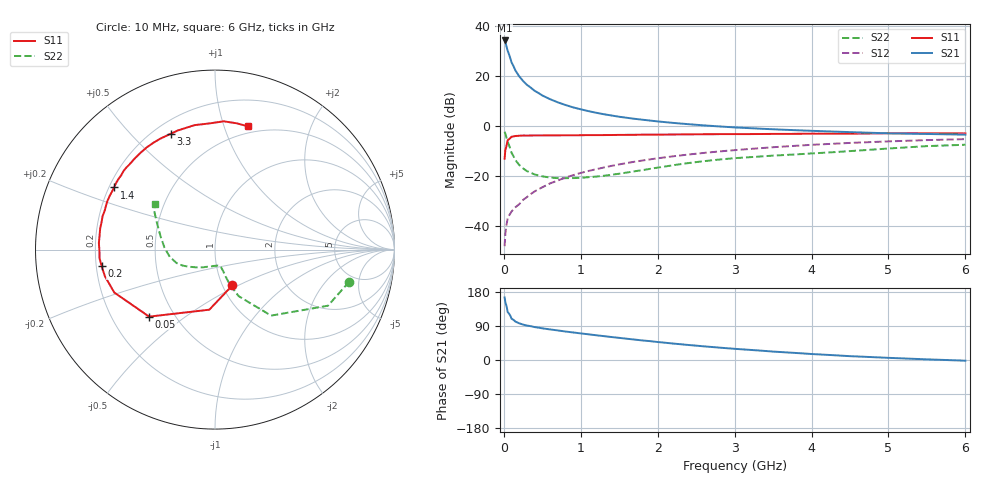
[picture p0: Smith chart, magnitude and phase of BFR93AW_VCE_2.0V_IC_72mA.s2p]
! Infineon Technologies  Discrete & RF Semiconductors
! BFR93AW
! VCE =  2.0 V,  IC =  72 mA
! Common Emitter S-Parameters:  Jan 2017
# GHz  S  MA  R  50
!  f  S11  S21  S12  S22
! GHz  MAG  ANG  MAG  ANG  MAG  ANG  MAG  ANG
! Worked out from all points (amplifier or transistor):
!   77 points, 10 MHz to 6 GHz, reference 50 ohm
!   highest |S21| = 34.3 dB at 10 MHz (marker M1)
!   |S21| within 3 dB of that: start of sweep to 39.64 MHz
!   unconditionally stable (mu >= 1): 156.2 MHz to end of sweep
!   at 130 MHz: K = 0.90, MSG = 28.5 dB, |S12| = -33.2 dB
!   at 2.2 GHz: K = 1.12, MAG = 4.6 dB, |S12| = -12.1 dB
!   at 6 GHz: K = 1.01, MAG = 0.2 dB, |S12| = -5.2 dB
!   S11 on the Smith chart (normalised r, x): 10 MHz: 1.11, -0.47; 50 MHz: 0.36, -0.37; 200 MHz: 0.22, -0.07; 1.4 GHz: 0.22, +0.27; 3.3 GHz: 0.27, +0.66; 6 GHz: 0.43, +1.21
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0.01  0.2213 -63.9  51.99 165.1  0.0039 67.4  0.7684 -13.5
0.02  0.3363 -95.4  48.13 152.1  0.007 65.6  0.7029 -26.4
0.05  0.5236 -134.5  32.25 126.4  0.0141 51.2  0.4824 -49.7
0.1  0.6099 -156.9  18.84 109.0  0.0193 56.9  0.2904 -63.1
0.15  0.6312 -166.4  13.04 101.4  0.0235 57.2  0.2078 -67.2
0.2  0.6382 -171.9  9.916 96.8  0.0271 62.5  0.166 -68.3
0.25  0.6454 -175.8  8.002 93.4  0.033 64.6  0.1414 -68.7
0.3  0.6438 -178.8  6.697 91.0  0.0376 67.3  0.1249 -69.4
0.4  0.648 176.7  5.09 86.9  0.0488 69.8  0.1068 -70.8
0.5  0.6479 172.8  4.101 83.6  0.0591 71.4  0.0981 -73.3
0.6  0.6507 169.4  3.459 80.7  0.0706 71.8  0.0926 -76.8
0.7  0.65 166.6  2.993 78.1  0.0808 72.3  0.0902 -80.4
0.9  0.6517 160.6  2.368 72.7  0.1033 71.5  0.0904 -89.6
1.1  0.6577 155.8  1.991 67.8  0.1256 70.9  0.0943 -99.3
1.4  0.6604 148.4  1.627 60.6  0.159 68.4  0.1054 -114.6
1.7  0.6666 141.7  1.396 53.9  0.1927 65.8  0.1238 -127.2
2.1  0.6743 133.1  1.196 45.5  0.2362 61.3  0.1549 -141.0
3.1  0.6891 114.3  0.922 28.1  0.3378 49.5  0.232 -163.0
3.3  0.691 110.8  0.89 25.3  0.3565 47.1  0.2431 -167.1
4.1  0.7021 97.9  0.792 14.7  0.4275 37.4  0.2877 174.9
5.1  0.7153 84.9  0.71 4.9  0.498 25.6  0.3623 154.0
6  0.7108 75.1  0.672 -1.8  0.5464 15.7  0.4217 142.5
